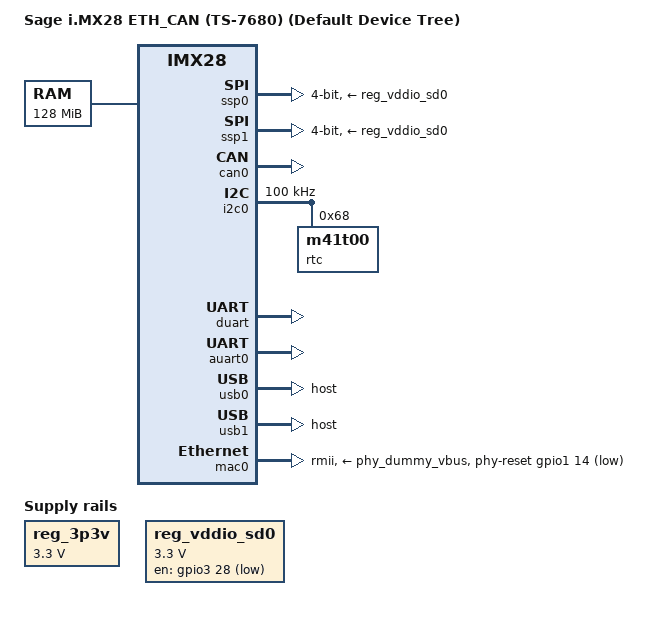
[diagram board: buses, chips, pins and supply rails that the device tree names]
/*
 * Copyright (C) 2012 Marek Vasut <marex@denx.de>
 *
 * The code contained herein is licensed under the GNU General Public
 * License. You may obtain a copy of the GNU General Public License
 * Version 2 or later at the following locations:
 *
 * http://www.opensource.org/licenses/gpl-license.html
 * http://www.gnu.org/copyleft/gpl.html
 */

/dts-v1/;
#include "imx28.dtsi"
#include "dt-bindings/gpio/gpio.h"
#include <dt-bindings/interrupt-controller/irq.h>

/ {

	model = "Sage i.MX28 ETH_CAN (TS-7680) (Default Device Tree)";
	compatible = "fsl,imx28-tssage", "fsl,imx28";

	aliases {
		mmc0 = &ssp0;
		mmc2 = &ssp1;
		i2c0 = &i2c0;
	};

	memory {
		reg = <0x40000000 0x08000000>;   /* 128MB */
	};

	apb@80000000 {
		apbh@80000000 {
		
			ssp0: ssp@80010000 {
				compatible = "fsl,imx28-mmc";
				pinctrl-names = "default";
				pinctrl-0 = <&mmc0_4bit_pins
					     &en_sd_pwr>;
				broken-cd = <1>;	     
				bus-width = <4>;
				vmmc-supply = <&reg_vddio_sd0>;
				status = "okay";
			};

			ssp1: ssp@80012000 {
				compatible = "fsl,imx28-mmc";
				pinctrl-names = "default";
				pinctrl-0 = <&mmc1_4bit_pins
					     &en_sd_pwr>;
				broken-cd = <1>;	     
				bus-width = <4>;
				vmmc-supply = <&reg_vddio_sd0>;
				status = "okay";
			};
						
			pinctrl@80018000 {
				pinctrl-names = "default";
				
				en_sd_pwr: en_sd_pwr {
				   fsl,pinmux-ids = <
				      MX28_PAD_PWM3__GPIO_3_28   // EN_SD_POWER#
				   >;
				   fsl,drive-strength = <MXS_DRIVE_4mA>;
					fsl,voltage = <MXS_VOLTAGE_HIGH>;
					fsl,pull-up = <MXS_PULL_DISABLE>;				   
				};

				mmc0_4bit_pins: mmc0-4bit@0 {
					reg = <0>;
					fsl,pinmux-ids = <
					  MX28_PAD_SSP0_DATA0__SSP0_D0
					  MX28_PAD_SSP0_DATA1__SSP0_D1
					  MX28_PAD_SSP0_DATA2__SSP0_D2
					  MX28_PAD_SSP0_DATA3__SSP0_D3
					  MX28_PAD_SSP0_CMD__SSP0_CMD						
					  MX28_PAD_SSP0_SCK__SSP0_SCK
					>;
					fsl,drive-strength = <MXS_DRIVE_8mA>;
					fsl,voltage = <MXS_VOLTAGE_HIGH>;
					fsl,pull-up = <MXS_PULL_ENABLE>;
				};

				mmc1_4bit_pins: mmc1-4bit@0 {
					reg = <0>;
					fsl,pinmux-ids = <
					  MX28_PAD_GPMI_WRN__SSP1_SCK

					  MX28_PAD_GPMI_RDY1__SSP1_CMD
					  MX28_PAD_GPMI_D00__SSP1_D0
					  MX28_PAD_GPMI_D01__SSP1_D1
					  MX28_PAD_GPMI_D02__SSP1_D2
					  MX28_PAD_GPMI_D03__SSP1_D3
					>;
					fsl,drive-strength = <MXS_DRIVE_8mA>;
					fsl,voltage = <MXS_VOLTAGE_HIGH>;
					fsl,pull-up = <MXS_PULL_ENABLE>;
				};
				
				mmc_sck_cfg: mmc-sck-cfg {
					fsl,pinmux-ids = <
					  MX28_PAD_SSP0_DATA7__SSP2_SCK
					>;
					fsl,drive-strength = <MXS_DRIVE_12mA>;
					fsl,pull-up = <MXS_PULL_DISABLE>;
				};

				mac0_pins_ts: mac0@0 {
					reg = <0>;
					fsl,pinmux-ids = <
					   MX28_PAD_ENET0_MDC__GPIO_4_0
					   MX28_PAD_ENET0_MDIO__GPIO_4_1
					   MX28_PAD_ENET0_RX_EN__ENET0_RX_EN
					   MX28_PAD_ENET0_RXD0__ENET0_RXD0
					   MX28_PAD_ENET0_RXD1__ENET0_RXD1
					   MX28_PAD_ENET0_TX_EN__ENET0_TX_EN
					   MX28_PAD_ENET0_TXD0__ENET0_TXD0
					   MX28_PAD_ENET0_TXD1__ENET0_TXD1
					   MX28_PAD_ENET_CLK__CLKCTRL_ENET
					>;
					fsl,drive-strength = <MXS_DRIVE_8mA>;
					fsl,voltage = <MXS_VOLTAGE_HIGH>;
					fsl,pull-up = <MXS_PULL_ENABLE>;
				};

				auart0_pins: auart0@0 {
					reg = <0>;
					fsl,pinmux-ids = <
						MX28_PAD_AUART0_RX__AUART0_RX
						MX28_PAD_AUART0_TX__AUART0_TX
					>;
					fsl,drive-strength = <MXS_DRIVE_4mA>;
					fsl,voltage = <MXS_VOLTAGE_HIGH>;
					fsl,pull-up = <MXS_PULL_DISABLE>;
				};

			};
			
			can0: can@80032000 {
				pinctrl-names = "default";
				pinctrl-0 = <&can0_pins_a>;
				status = "okay";
			};

			can1: can@80034000 {
				pinctrl-names = "default";
				pinctrl-0 = <&can1_pins_a>;
				status = "disabled";
			};

		};

		apbx@80040000 {
			saif0: saif@80042000 {
				pinctrl-names = "default";
				pinctrl-0 = <&saif0_pins_a>;
				status = "disabled";
			};

			saif1: saif@80046000 {
				pinctrl-names = "default";
				pinctrl-0 = <&saif1_pins_a>;
				fsl,saif-master = <&saif0>;
				status = "disabled";
			};


			i2c0: i2c@80058000 {
				pinctrl-names = "default";
				pinctrl-0 = <&i2c0_pins_a>;
				clock-frequency = <100000>;
				status = "okay";

				rtc: m41t00s@68 {
					compatible = "m41t00";
					reg = <0x68>;
				};
		   	};

			duart: serial@80074000 {
				pinctrl-names = "default";
				pinctrl-0 = <&duart_pins_a>;
				status = "okay";
			};

			usbphy0: usbphy@8007c000 {
				status = "okay";
								
			};

			usbphy1: usbphy@8007e000 {			   
				status = "okay";
			};


			auart0: serial@8006a000 {
				pinctrl-names = "default";
				pinctrl-0 = <&auart0_pins>;
				status = "okay";
			};

			pwm: pwm@80064000 {
				pinctrl-names = "default";
				pinctrl-0 = <&pwm2_pins_a>;
				status = "disabled";
			};
		};
	};

	ahb@80080000 {	   
		usb0: usb@80080000 {
			disable-over-current;
			dr_mode = "host";
			status = "okay";
		};

		usb1: usb@80090000 {
			disable-over-current;
			dr_mode = "host";
			status = "okay";
		};

		mac0: ethernet@800f0000 {
			phy-mode = "rmii";
			pinctrl-names = "default";
			pinctrl-0 = <&mac0_pins_ts>;
			clocks = <&clks 57>, <&clks 57>, <&clks 64>;
			clock-names = "ipg", "ahb", "enet_out";
		 	phy-supply = <&phy_dummy_vbus>;		
			phy-reset-gpios = <&gpio1 14 GPIO_ACTIVE_LOW>;
			phy-reset-duration = <1000>;
			status = "okay";

			phy: ethernet@0 {	   
				device_type = "network";
				fixed-link = <0 1 100 0 0>;
			};
		};
	};

	regulators {
		compatible = "simple-bus";

		reg_3p3v: 3p3v {
			compatible = "regulator-fixed";
			regulator-name = "3P3V";
			regulator-min-microvolt = <3300000>;
			regulator-max-microvolt = <3300000>;
			regulator-always-on;
		};
		
		
		reg_vddio_sd0: vddio-sd0 {
			compatible = "regulator-fixed";
			regulator-name = "vddio-sd0";
			regulator-min-microvolt = <3300000>;
			regulator-max-microvolt = <3300000>;
			regulator-boot-on;
			gpio = <&gpio3 28 0>;
			};
	
		
		reg_usb0_vbus: usb0_vbus {
			compatible = "regulator-dummy";
			regulator-name = "usb0_vbus_dummy";
			regulator-always-on;
			
		};

		reg_usb1_vbus: usb1_vbus {
			compatible = "regulator-dummy";
			regulator-name = "usb1_vbus_dummy";
			regulator-always-on;
		};
		
		phy_dummy_vbus: phy_dummy_vbus {		
			compatible = "regulator-dummy";
			regulator-name = "phy-dummy";
			enable-active-high;
			regulator-boot-on;
		};


	};
};


